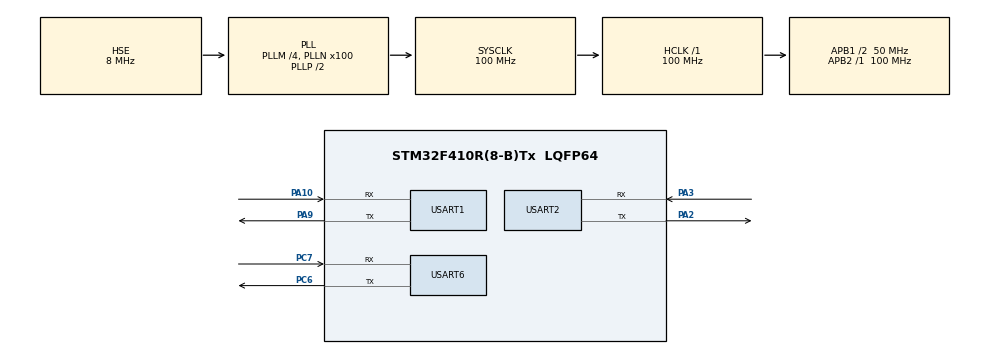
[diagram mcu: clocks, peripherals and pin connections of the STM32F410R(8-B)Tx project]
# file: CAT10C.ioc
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Mcu.Family=STM32F4
Mcu.Name=STM32F410R(8-B)Tx
Mcu.Package=LQFP64
NVIC.PriorityGroup=NVIC_PRIORITYGROUP_4
PA10.Mode=Asynchronous
PA10.Signal=USART1_RX
PA13.Mode=Serial_Wire
PA13.Signal=SYS_JTMS-SWDIO
PA14.Mode=Serial_Wire
PA14.Signal=SYS_JTCK-SWCLK
PA2.Mode=Asynchronous
PA2.Signal=USART2_TX
PA3.Mode=Asynchronous
PA3.Signal=USART2_RX
PA9.Mode=Asynchronous
PA9.Signal=USART1_TX
PC6.Mode=Asynchronous
PC6.Signal=USART6_TX
PC7.Mode=Asynchronous
PC7.Signal=USART6_RX
PH0\ -\ OSC_IN.Mode=HSE-External-Clock-Source
PH0\ -\ OSC_IN.Signal=RCC_OSC_IN
PH1\ -\ OSC_OUT.Mode=HSE-External-Clock-Source
PH1\ -\ OSC_OUT.Signal=RCC_OSC_OUT
ProjectManager.HeapSize=0x200
ProjectManager.StackSize=0x400
ProjectManager.TargetToolchain=MDK-ARM V5.32
RCC.48MHZClocksFreq_Value=50000000
RCC.AHBFreq_Value=100000000
RCC.APB1CLKDivider=RCC_HCLK_DIV2
RCC.APB1Freq_Value=50000000
RCC.APB1TimFreq_Value=100000000
RCC.APB2Freq_Value=100000000
RCC.APB2TimFreq_Value=100000000
RCC.CortexFreq_Value=100000000
RCC.HCLKFreq_Value=100000000
RCC.HSE_VALUE=8000000
RCC.HSI_VALUE=16000000
RCC.LSE_VALUE=32768
RCC.PLLM=4
RCC.PLLN=100
RCC.PLLSourceVirtual=RCC_PLLSOURCE_HSE
RCC.SYSCLKFreq_VALUE=100000000
RCC.SYSCLKSource=RCC_SYSCLKSOURCE_PLLCLK
RCC.VCOOutputFreq_Value=200000000
USART1.VirtualMode=VM_ASYNC
USART2.VirtualMode=VM_ASYNC
USART6.VirtualMode=VM_ASYNC
board=custom

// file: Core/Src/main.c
/* USER CODE BEGIN Header */
/**
  ******************************************************************************
  * @file           : main.c
  * @brief          : STM32F410 and ESP8266 HTTP server using AT commands
  ******************************************************************************
  */
/* USER CODE END Header */

#include "main.h"

/* USER CODE BEGIN Includes */
#include <string.h>
/* USER CODE END Includes */

/* USER CODE BEGIN PD */
#define ESP_RX_SIZE       1024
#define ESP_BAUD_TIMEOUT  2000
/* USER CODE END PD */

UART_HandleTypeDef huart1;
UART_HandleTypeDef huart2;
UART_HandleTypeDef huart6;

/* USER CODE BEGIN PV */
static char esp_rx[ESP_RX_SIZE];
/* USER CODE END PV */

void SystemClock_Config(void);
static void MX_GPIO_Init(void);
static void MX_USART1_UART_Init(void);
static void MX_USART2_UART_Init(void);
static void MX_USART6_UART_Init(void);

/* USER CODE BEGIN 0 */
static void debug_print(const char *text)
{
    HAL_UART_Transmit(&huart6, (uint8_t *)text,
                      (uint16_t)strlen(text), HAL_MAX_DELAY);
}

/* Read UART1 until no new byte has arrived for quiet_ms, or max_ms expires. */
static int esp_read_quiet(char *buffer, int capacity,
                          uint32_t quiet_ms, uint32_t max_ms)
{
    uint8_t ch;
    int count = 0;
    uint32_t start = HAL_GetTick();
    uint32_t last_byte = start;

    if (capacity < 2) return 0;
    memset(buffer, 0, (size_t)capacity);

    while (count < capacity - 1 &&
           (HAL_GetTick() - start) < max_ms)
    {
        if (HAL_UART_Receive(&huart1, &ch, 1, 20) == HAL_OK)
        {
            buffer[count++] = (char)ch;
            last_byte = HAL_GetTick();
        }
        else if (count > 0 &&
                 (HAL_GetTick() - last_byte) >= quiet_ms)
        {
            break;
        }
    }

    buffer[count] = '\0';
    return count;
}

static void esp_send_text(const char *text)
{
    HAL_UART_Transmit(&huart1, (uint8_t *)text,
                      (uint16_t)strlen(text), ESP_BAUD_TIMEOUT);
}

/* Send one AT command, collect its response, and show it on the debug UART. */
static void esp_command(const char *command, uint32_t wait_ms)
{
    esp_send_text(command);
    if (esp_read_quiet(esp_rx, sizeof(esp_rx), 150, wait_ms) > 0)
    {
        debug_print(esp_rx);
    }
}

/* USER CODE END 0 */

int main(void)
{
    HAL_Init();
    SystemClock_Config();

    MX_GPIO_Init();
    MX_USART1_UART_Init();
    MX_USART2_UART_Init();
    MX_USART6_UART_Init();

    /* USER CODE BEGIN 2 */
    debug_print("\r\nTask 11A: ESP8266 TCP server setup\r\n");
    esp_command("AT\r\n", 1500);
    esp_command("AT+CIPMUX=1\r\n", 1500);
    esp_command("AT+CIPSERVER=1,80\r\n", 1500);
    esp_command("AT+CIFSR\r\n", 1500);
    debug_print("\r\nTCP server configuration sequence complete.\r\n");
    /* USER CODE END 2 */

    while (1)
    {
        /* USER CODE BEGIN 3 */
HAL_Delay(1000);
        /* USER CODE END 3 */
    }
}

void SystemClock_Config(void)
{
    RCC_OscInitTypeDef RCC_OscInitStruct = {0};
    RCC_ClkInitTypeDef RCC_ClkInitStruct = {0};

    __HAL_RCC_PWR_CLK_ENABLE();
    __HAL_PWR_VOLTAGESCALING_CONFIG(PWR_REGULATOR_VOLTAGE_SCALE1);

    RCC_OscInitStruct.OscillatorType = RCC_OSCILLATORTYPE_HSE;
    RCC_OscInitStruct.HSEState = RCC_HSE_BYPASS;
    RCC_OscInitStruct.PLL.PLLState = RCC_PLL_ON;
    RCC_OscInitStruct.PLL.PLLSource = RCC_PLLSOURCE_HSE;
    RCC_OscInitStruct.PLL.PLLM = 4;
    RCC_OscInitStruct.PLL.PLLN = 100;
    RCC_OscInitStruct.PLL.PLLP = RCC_PLLP_DIV2;
    RCC_OscInitStruct.PLL.PLLQ = 4;
    RCC_OscInitStruct.PLL.PLLR = 2;

    if (HAL_RCC_OscConfig(&RCC_OscInitStruct) != HAL_OK) Error_Handler();

    RCC_ClkInitTypeDef RCC_ClkInitStruct2 = {0};
    RCC_ClkInitStruct2.ClockType = RCC_CLOCKTYPE_HCLK |
                                  RCC_CLOCKTYPE_SYSCLK |
                                  RCC_CLOCKTYPE_PCLK1 |
                                  RCC_CLOCKTYPE_PCLK2;
    RCC_ClkInitStruct2.SYSCLKSource = RCC_SYSCLKSOURCE_PLLCLK;
    RCC_ClkInitStruct2.AHBCLKDivider = RCC_SYSCLK_DIV1;
    RCC_ClkInitStruct2.APB1CLKDivider = RCC_HCLK_DIV2;
    RCC_ClkInitStruct2.APB2CLKDivider = RCC_HCLK_DIV1;

    if (HAL_RCC_ClockConfig(&RCC_ClkInitStruct2, FLASH_LATENCY_3) != HAL_OK)
        Error_Handler();
}

static void MX_GPIO_Init(void)
{
    __HAL_RCC_GPIOA_CLK_ENABLE();
    __HAL_RCC_GPIOC_CLK_ENABLE();
    __HAL_RCC_GPIOH_CLK_ENABLE();
}

/* USART1 Initialization: PA9 TX, PA10 RX -----------------------------------*/
static void MX_USART1_UART_Init(void)
{
    huart1.Instance = USART1;
    huart1.Init.BaudRate = 115200;
    huart1.Init.WordLength = UART_WORDLENGTH_8B;
    huart1.Init.StopBits = UART_STOPBITS_1;
    huart1.Init.Parity = UART_PARITY_NONE;
    huart1.Init.Mode = UART_MODE_TX_RX;
    huart1.Init.HwFlowCtl = UART_HWCONTROL_NONE;
    huart1.Init.OverSampling = UART_OVERSAMPLING_16;
    if (HAL_UART_Init(&huart1) != HAL_OK) Error_Handler();
}

/* USART2 Initialization: PA2 TX, PA3 RX ------------------------------------*/
static void MX_USART2_UART_Init(void)
{
    huart2.Instance = USART2;
    huart2.Init.BaudRate = 115200;
    huart2.Init.WordLength = UART_WORDLENGTH_8B;
    huart2.Init.StopBits = UART_STOPBITS_1;
    huart2.Init.Parity = UART_PARITY_NONE;
    huart2.Init.Mode = UART_MODE_TX_RX;
    huart2.Init.HwFlowCtl = UART_HWCONTROL_NONE;
    huart2.Init.OverSampling = UART_OVERSAMPLING_16;
    if (HAL_UART_Init(&huart2) != HAL_OK) Error_Handler();
}

/* USART6 Initialization: PC6 TX, PC7 RX ------------------------------------*/
static void MX_USART6_UART_Init(void)
{
    huart6.Instance = USART6;
    huart6.Init.BaudRate = 115200;
    huart6.Init.WordLength = UART_WORDLENGTH_8B;
    huart6.Init.StopBits = UART_STOPBITS_1;
    huart6.Init.Parity = UART_PARITY_NONE;
    huart6.Init.Mode = UART_MODE_TX_RX;
    huart6.Init.HwFlowCtl = UART_HWCONTROL_NONE;
    huart6.Init.OverSampling = UART_OVERSAMPLING_16;
    if (HAL_UART_Init(&huart6) != HAL_OK) Error_Handler();
}

void Error_Handler(void)
{
    __disable_irq();
    while (1) { }
}
